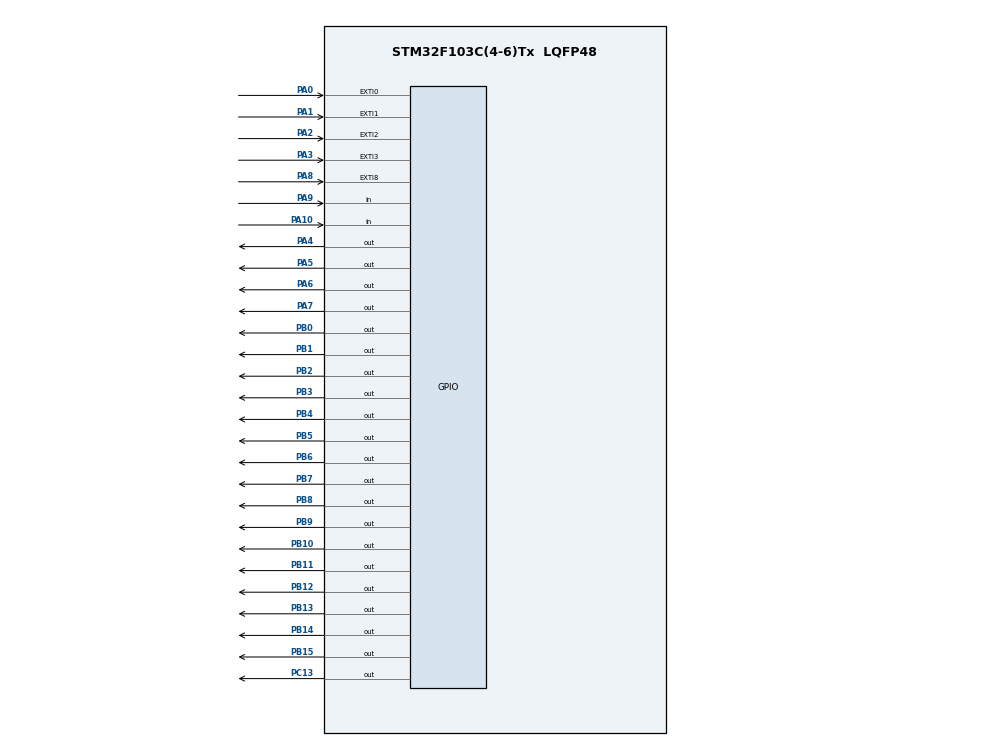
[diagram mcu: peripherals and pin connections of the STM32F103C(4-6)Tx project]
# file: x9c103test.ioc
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Mcu.Family=STM32F1
Mcu.Name=STM32F103C(4-6)Tx
Mcu.Package=LQFP48
NVIC.EXTI0_IRQn=true\:3\:0\:true\:false\:true\:true\:true\:true
NVIC.EXTI1_IRQn=true\:3\:0\:true\:false\:true\:true\:true\:true
NVIC.EXTI2_IRQn=true\:3\:0\:true\:false\:true\:true\:true\:true
NVIC.EXTI3_IRQn=true\:3\:0\:true\:false\:true\:true\:true\:true
NVIC.EXTI9_5_IRQn=true\:3\:0\:true\:false\:true\:true\:true\:true
NVIC.PriorityGroup=NVIC_PRIORITYGROUP_2
PA0-WKUP.GPIO_ModeDefaultEXTI=GPIO_MODE_IT_RISING_FALLING
PA0-WKUP.GPIO_PuPd=GPIO_PULLDOWN
PA0-WKUP.Signal=GPXTI0
PA1.GPIO_ModeDefaultEXTI=GPIO_MODE_IT_RISING_FALLING
PA1.GPIO_PuPd=GPIO_PULLDOWN
PA1.Signal=GPXTI1
PA10.GPIO_PuPd=GPIO_PULLUP
PA10.Signal=GPIO_Input
PA2.GPIO_ModeDefaultEXTI=GPIO_MODE_IT_RISING_FALLING
PA2.GPIO_PuPd=GPIO_PULLDOWN
PA2.Signal=GPXTI2
PA3.GPIO_ModeDefaultEXTI=GPIO_MODE_IT_RISING_FALLING
PA3.GPIO_PuPd=GPIO_PULLDOWN
PA3.Signal=GPXTI3
PA4.PinState=GPIO_PIN_RESET
PA4.Signal=GPIO_Output
PA5.Signal=GPIO_Output
PA6.PinState=GPIO_PIN_RESET
PA6.Signal=GPIO_Output
PA7.Signal=GPIO_Output
PA8.GPIO_ModeDefaultEXTI=GPIO_MODE_IT_RISING_FALLING
PA8.GPIO_PuPd=GPIO_PULLUP
PA8.Signal=GPXTI8
PA9.GPIO_PuPd=GPIO_PULLUP
PA9.Signal=GPIO_Input
PB0.Signal=GPIO_Output
PB1.Signal=GPIO_Output
PB10.Signal=GPIO_Output
PB11.Signal=GPIO_Output
PB12.Signal=GPIO_Output
PB13.Signal=GPIO_Output
PB14.Signal=GPIO_Output
PB15.Signal=GPIO_Output
PB2.Signal=GPIO_Output
PB3.Signal=GPIO_Output
PB4.Signal=GPIO_Output
PB5.Signal=GPIO_Output
PB6.Signal=GPIO_Output
PB7.Signal=GPIO_Output
PB8.Signal=GPIO_Output
PB9.Signal=GPIO_Output
PC13-TAMPER-RTC.Signal=GPIO_Output
ProjectManager.HeapSize=0x200
ProjectManager.StackSize=0x400
ProjectManager.TargetToolchain=MDK-ARM V5
RCC.APB1Freq_Value=8000000
RCC.APB2Freq_Value=8000000
VP_SYS_VS_ND.Mode=No_Debug
VP_TIM3_VS_ClockSourceINT.Mode=Internal
board=custom

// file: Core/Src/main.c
/* USER CODE BEGIN Header */
/**
  ******************************************************************************
  * @file           : main.c
  * @brief          : Main program body
  ******************************************************************************
  * @attention
  *
  * Copyright (c) 2023 STMicroelectronics.
  * All rights reserved.
  *
  * This software is licensed under terms that can be found in the LICENSE file
  * in the root directory of this software component.
  * If no LICENSE file comes with this software, it is provided AS-IS.
  *
  ******************************************************************************
  */
/* USER CODE END Header */
#include "main.h"

/* USER CODE BEGIN PTD */
#define LONG_PRESS_THRESHOLD 2000   // long
#define COUNT_INTERVAL 500	// interval
/* USER CODE END PTD */

TIM_HandleTypeDef htim3;

void SystemClock_Config(void);
static void MX_GPIO_Init(void);
static void MX_TIM3_Init(void);

/* USER CODE BEGIN 0 */
//GPIO_PIN_RESET 0 GPIO_PIN_SET 1
//PA0=KEY0  up
//PA1=KEY1  down
//PA2=KEY2  Silence=sc
//PA3=KEY3  micmode=mic
//PA4******
//PA5=inc HAL_GPIO_WritePin(GPIOA, GPIO_PIN_5, GPIO_PIN_SET);
//PA6=UD 	HAL_GPIO_WritePin(GPIOA, GPIO_PIN_6, GPIO_PIN_SET);
//PA7=CS	HAL_GPIO_WritePin(GPIOA, GPIO_PIN_7, GPIO_PIN_SET);
//PA8=v1
//PA9=v2
//PA10=v3
//PB1*****
//PB2*****
//PB3
//PB4
//PB5=E2 4066 silence2
//PB6=E0 4066 silence1
//PB7=E1 4066 micmode
//PB8--PB15 a,b,c,d,e,f,g,h

int buttonPressStartTime = 0;
int count=0;
int buttonPressDuration=0;
int flagup=0,flagdown=0,flagsc=0,flagmic=0;
int flag=0;
int volume=3;
int volume_C=0;
int v1=1,v2=1,v3=1;
int inc=0,dec=0,sc=0;
//void contorl(){
//	//				v1 v2 v3
//	//stay		1  1  1
//	//silence	0  0  0
//	//++			0  1  0
//	//--			0  1  1

//	switch (v1 | v2 | v3) {
//        case 0b000://silence
//
//            break;
//        case 0b010://++
//
//            break;
//        case 0b011://--
//
//            break;
//        default:
//
//            break;
//    }

//}

//void silence(){
//				HAL_GPIO_TogglePin(GPIOB, GPIO_PIN_5);
//				HAL_GPIO_TogglePin(GPIOB, GPIO_PIN_6);
//				HAL_GPIO_TogglePin(GPIOC, GPIO_PIN_13);//light
//}

//void increase(){

//
//}

//void decrease(){

//}

void x9c103_set(int number){

	HAL_GPIO_WritePin(GPIOA, GPIO_PIN_5, GPIO_PIN_SET); //	inc=1;
	HAL_Delay(10);
	HAL_Delay(10);
	HAL_GPIO_WritePin(GPIOA, GPIO_PIN_7, GPIO_PIN_RESET);	//	cs=0;
	HAL_Delay(10);
	HAL_Delay(10);
	HAL_GPIO_WritePin(GPIOA, GPIO_PIN_6, GPIO_PIN_RESET);	//	ud=0;
	HAL_Delay(10);
	HAL_Delay(10);
	for(int i=0;i<100;i++){
		HAL_GPIO_WritePin(GPIOA, GPIO_PIN_5, GPIO_PIN_SET);					//	inc=1;
		HAL_Delay(10);
		HAL_GPIO_WritePin(GPIOA, GPIO_PIN_5, GPIO_PIN_RESET);		//		inc=0;
		HAL_Delay(10);
	}

		HAL_GPIO_WritePin(GPIOA, GPIO_PIN_6, GPIO_PIN_SET);		//	ud=1;
		HAL_Delay(10);

	for(int i=0;i<number;i++){
		HAL_GPIO_WritePin(GPIOA, GPIO_PIN_5, GPIO_PIN_SET);			//		inc=1;
		HAL_Delay(10);
		HAL_GPIO_WritePin(GPIOA, GPIO_PIN_5, GPIO_PIN_RESET);		//		inc=0;
		HAL_Delay(10);
	}

		HAL_GPIO_WritePin(GPIOA, GPIO_PIN_5, GPIO_PIN_SET);		//	inc=1;
		HAL_Delay(10);
		HAL_Delay(10);
		HAL_GPIO_WritePin(GPIOA, GPIO_PIN_7, GPIO_PIN_SET);	  //	cs=1;
		HAL_Delay(10);
		HAL_Delay(10);
		HAL_GPIO_WritePin(GPIOA, GPIO_PIN_6, GPIO_PIN_RESET);	  //	ud=0;
		HAL_Delay(10);
		HAL_Delay(10);
		HAL_GPIO_WritePin(GPIOA, GPIO_PIN_5, GPIO_PIN_SET);		//	inc=1;
}

void x9c103_inc(int number){
	HAL_GPIO_WritePin(GPIOA, GPIO_PIN_5, GPIO_PIN_SET);		//	inc=1;
	HAL_Delay(10);
	HAL_Delay(10);
	HAL_GPIO_WritePin(GPIOA, GPIO_PIN_7, GPIO_PIN_RESET);	//	cs=0;
	HAL_Delay(10);
	HAL_Delay(10);
	HAL_GPIO_WritePin(GPIOA, GPIO_PIN_6, GPIO_PIN_SET);	  //	ud=1;
	HAL_Delay(10);
	HAL_Delay(10);

	for(int i=0;i<number;i++){
		HAL_GPIO_WritePin(GPIOA, GPIO_PIN_5, GPIO_PIN_SET);		//	inc=1;
		HAL_Delay(10);
		HAL_GPIO_WritePin(GPIOA, GPIO_PIN_5, GPIO_PIN_RESET);	//	inc=0;
		HAL_Delay(10);
	}

	HAL_GPIO_WritePin(GPIOA, GPIO_PIN_5, GPIO_PIN_SET);		//	inc=1;
	HAL_Delay(10);
	HAL_Delay(10);
	HAL_GPIO_WritePin(GPIOA, GPIO_PIN_7, GPIO_PIN_SET);	  //	cs=1;
	HAL_Delay(10);
	HAL_Delay(10);
	HAL_GPIO_WritePin(GPIOA, GPIO_PIN_6, GPIO_PIN_SET);	  //	ud=1;
	HAL_Delay(10);
	HAL_Delay(10);
	HAL_GPIO_WritePin(GPIOA, GPIO_PIN_5, GPIO_PIN_SET);		//	inc=1;
}

void x9c103_dec(int number){
	HAL_GPIO_WritePin(GPIOA, GPIO_PIN_5, GPIO_PIN_SET);		//	inc=1;
	HAL_Delay(10);
	HAL_Delay(10);
	HAL_GPIO_WritePin(GPIOA, GPIO_PIN_7, GPIO_PIN_RESET);	//	cs=0;
	HAL_Delay(10);
	HAL_Delay(10);
	HAL_GPIO_WritePin(GPIOA, GPIO_PIN_6, GPIO_PIN_RESET);	//	ud=0;
	HAL_Delay(10);
	HAL_Delay(10);

	for(int i=0;i<number;i++){
		HAL_GPIO_WritePin(GPIOA, GPIO_PIN_5, GPIO_PIN_SET);		//	inc=1;
		HAL_Delay(10);
		HAL_GPIO_WritePin(GPIOA, GPIO_PIN_5, GPIO_PIN_RESET);	//	inc=0;
		HAL_Delay(10);
	}

	HAL_GPIO_WritePin(GPIOA, GPIO_PIN_5, GPIO_PIN_SET);		//	inc=1;
	HAL_Delay(10);
	HAL_Delay(10);
	HAL_GPIO_WritePin(GPIOA, GPIO_PIN_7, GPIO_PIN_SET);	  //	cs=1;
	HAL_Delay(10);
	HAL_Delay(10);
	HAL_GPIO_WritePin(GPIOA, GPIO_PIN_6, GPIO_PIN_RESET);	  //	ud=0;
	HAL_Delay(10);
	HAL_Delay(10);
	HAL_GPIO_WritePin(GPIOA, GPIO_PIN_5, GPIO_PIN_SET);		//	inc=1;

}

void LED_C(){
   HAL_GPIO_WritePin(GPIOB, GPIO_PIN_8, GPIO_PIN_RESET);
   HAL_GPIO_WritePin(GPIOB, GPIO_PIN_9, GPIO_PIN_RESET);
   HAL_GPIO_WritePin(GPIOB, GPIO_PIN_10, GPIO_PIN_RESET);
   HAL_GPIO_WritePin(GPIOB, GPIO_PIN_11, GPIO_PIN_RESET);
   HAL_GPIO_WritePin(GPIOB, GPIO_PIN_12, GPIO_PIN_RESET);
   HAL_GPIO_WritePin(GPIOB, GPIO_PIN_13, GPIO_PIN_RESET);
	 HAL_GPIO_WritePin(GPIOB, GPIO_PIN_14, GPIO_PIN_RESET);
	 HAL_GPIO_WritePin(GPIOB, GPIO_PIN_15, GPIO_PIN_RESET);
}

void LED(){
	 if(volume_C !=volume)
	 {
    volume_C=volume;
    switch(volume)
		{
	   case 0:
	  //13 12 10 9 8 14
		 LED_C();
		 HAL_GPIO_WritePin(GPIOB, GPIO_PIN_13|GPIO_PIN_12|GPIO_PIN_10|GPIO_PIN_9|GPIO_PIN_8|GPIO_PIN_14, GPIO_PIN_SET);

		 break;
	   case 1:
		// 12  10
		 	 LED_C();
		 HAL_GPIO_WritePin(GPIOB, GPIO_PIN_12|GPIO_PIN_10, GPIO_PIN_SET);

		 break;
	   case 2:
		//13 12 15 8 9
		 	 LED_C();
		 HAL_GPIO_WritePin(GPIOB, GPIO_PIN_13|GPIO_PIN_12|GPIO_PIN_15|GPIO_PIN_8|GPIO_PIN_9, GPIO_PIN_SET);

		 break;
	   case 3:
		//13 12 15 10 9
		 	 LED_C();
		 HAL_GPIO_WritePin(GPIOB, GPIO_PIN_13|GPIO_PIN_12|GPIO_PIN_15|GPIO_PIN_10|GPIO_PIN_9, GPIO_PIN_SET);

		 break;
	   case 4:
		 //14 15 12 10
		 	 LED_C();
		 HAL_GPIO_WritePin(GPIOB, GPIO_PIN_14|GPIO_PIN_15|GPIO_PIN_12|GPIO_PIN_10, GPIO_PIN_SET);

		 break;
	   case 5:
		 // 13 14 15 10 9
		 	 LED_C();
		 HAL_GPIO_WritePin(GPIOB, GPIO_PIN_13|GPIO_PIN_14|GPIO_PIN_15|GPIO_PIN_10|GPIO_PIN_9, GPIO_PIN_SET);

		 break;
	   case 6:
			//13 14 8 9 10 15
		 	 LED_C();
		 HAL_GPIO_WritePin(GPIOB, GPIO_PIN_13|GPIO_PIN_14|GPIO_PIN_8|GPIO_PIN_9|GPIO_PIN_10|GPIO_PIN_15, GPIO_PIN_SET);

		 break;
	   case 7:
			//13 12 10
		 	 LED_C();
		 HAL_GPIO_WritePin(GPIOB, GPIO_PIN_13|GPIO_PIN_12|GPIO_PIN_10, GPIO_PIN_SET);

		 break;

		}
   }
}

void HAL_GPIO_EXTI_Callback(uint16_t GPIO_Pin){

/* ----------------------------------------------------------------*///control

//PA8=v1 mic
//PA9=v2 low prefernce
//PA10=v3  high preference
//				v1 v2 v3
//stay		1  1  1
//silence	0  0  0
//++			0  1  0
//--			0  1  1
if(HAL_GPIO_ReadPin(GPIOA, GPIO_PIN_8) == GPIO_PIN_RESET){
//	HAL_Delay(10);
//		if(HAL_GPIO_ReadPin(GPIOA, GPIO_PIN_8) == GPIO_PIN_RESET){
				if(HAL_GPIO_ReadPin(GPIOA, GPIO_PIN_9) == GPIO_PIN_SET){
					if(HAL_GPIO_ReadPin(GPIOA, GPIO_PIN_10) == GPIO_PIN_SET){
							//011 --
							dec=1;
					}
					else{
							//010 ++
						inc=1;
					}
				}
					else{
						//000 silence
						sc=1;
						}
//		}
	}
	/* ----------------------------------------------------------------*///key+++++
	if(HAL_GPIO_ReadPin(GPIOA, GPIO_PIN_0) == GPIO_PIN_SET||inc == 1) //record start time
	{
		HAL_Delay(10);
		if(HAL_GPIO_ReadPin(GPIOA, GPIO_PIN_0) == GPIO_PIN_SET||inc == 1)
		{
			flag = 1;
			buttonPressStartTime = HAL_GetTick();
			if(inc == 1){
				inc = 0;
				return;
			}
		}
	}

	if(HAL_GPIO_ReadPin(GPIOA, GPIO_PIN_0) == GPIO_PIN_RESET&&flag == 1)//calculate end time && flagup = 1
	{
		HAL_Delay(10);
		if(HAL_GPIO_ReadPin(GPIOA, GPIO_PIN_0) == GPIO_PIN_RESET)
		{
			flag = 0;
			flagup = 1;
			buttonPressDuration = HAL_GetTick() - buttonPressStartTime;
		}
	}
/* ----------------------------------------------------------------*/////key------
	if(HAL_GPIO_ReadPin(GPIOA, GPIO_PIN_1) == GPIO_PIN_SET||dec == 1) //record start time
	{
		HAL_Delay(10);
		if(HAL_GPIO_ReadPin(GPIOA, GPIO_PIN_1) == GPIO_PIN_SET||dec == 1)
		{
			flag = 2;
			buttonPressStartTime = HAL_GetTick();
			if(dec == 1){
				dec = 0;
				return;
			}
		}
	}

	if(HAL_GPIO_ReadPin(GPIOA, GPIO_PIN_1) == GPIO_PIN_RESET&&flag == 2)//calculate end time
	{
		HAL_Delay(10);
		if(HAL_GPIO_ReadPin(GPIOA, GPIO_PIN_1) == GPIO_PIN_RESET)
		{
			flag = 0;
			flagdown = 1;
			buttonPressDuration = HAL_GetTick() - buttonPressStartTime;
		}
	}

/* ----------------------------------------------------------------*////silence
	if(HAL_GPIO_ReadPin(GPIOA, GPIO_PIN_2) == GPIO_PIN_SET||sc == 1) //record start time
	{
		HAL_Delay(10);
		if(HAL_GPIO_ReadPin(GPIOA, GPIO_PIN_2) == GPIO_PIN_SET||sc == 1)
		{
			flag = 3;
			buttonPressStartTime = HAL_GetTick();
			if(sc == 1){
				sc = 0;
				return;
			}
		}
	}

	if(HAL_GPIO_ReadPin(GPIOA, GPIO_PIN_2) == GPIO_PIN_RESET&&flag == 3)//calculate end time
	{
		HAL_Delay(10);
		if(HAL_GPIO_ReadPin(GPIOA, GPIO_PIN_2) == GPIO_PIN_RESET)
		{
			flag = 0;
			flagsc = 1;
			buttonPressDuration = HAL_GetTick() - buttonPressStartTime;
		}
	}

/* ----------------------------------------------------------------*///mic
	if(HAL_GPIO_ReadPin(GPIOA, GPIO_PIN_3) == GPIO_PIN_SET) //record start time
	{
		HAL_Delay(10);
		if(HAL_GPIO_ReadPin(GPIOA, GPIO_PIN_3) == GPIO_PIN_SET)
		{
			flag = 4;
			buttonPressStartTime = HAL_GetTick();
		}
	}

	if(HAL_GPIO_ReadPin(GPIOA, GPIO_PIN_3) == GPIO_PIN_RESET&&flag == 4)//calculate end time
	{
		HAL_Delay(10);
		if(HAL_GPIO_ReadPin(GPIOA, GPIO_PIN_3) == GPIO_PIN_RESET)
		{
			flag = 0;
			flagmic = 1;
			buttonPressDuration = HAL_GetTick() - buttonPressStartTime;
		}
	}

}

/* USER CODE END 0 */

int main(void)
{

  /* MCU Configuration--------------------------------------------------------*/

  /* Reset of all peripherals, Initializes the Flash interface and the Systick. */
  HAL_Init();

  /* Configure the system clock */
  SystemClock_Config();

  /* Initialize all configured peripherals */
  MX_GPIO_Init();
  MX_TIM3_Init();
  /* USER CODE BEGIN 2 */
	HAL_Delay(500);
	x9c103_set(30);
	HAL_GPIO_WritePin(GPIOC, GPIO_PIN_13, GPIO_PIN_SET);
	HAL_Delay(500);
	HAL_GPIO_WritePin(GPIOC, GPIO_PIN_13, GPIO_PIN_RESET);//keep light
  /* USER CODE END 2 */

  /* Infinite loop */
  while (1)
  {

    /* USER CODE BEGIN 3 */
		LED();
		if(flagup == 1)
			{
				flagup = 0;
				count = buttonPressDuration/1000;
				if(buttonPressDuration >= LONG_PRESS_THRESHOLD)//changan >= 2s
					{
						for(int i=0;i<count;i++)
						{

							if(volume<7){

								x9c103_inc(10);
								volume++;

							}
						}
					}

				else//duanan < 2s
					{

						if(volume<7){

							x9c103_inc(10);
							volume++;

						}

					}
//				if(volume>0&&HAL_GPIO_ReadPin(GPIOC, GPIO_PIN_13) == GPIO_PIN_SET){
//						HAL_GPIO_WritePin(GPIOB, GPIO_PIN_5, GPIO_PIN_SET);
//						HAL_GPIO_WritePin(GPIOB, GPIO_PIN_6, GPIO_PIN_SET);
//					}
				count=0;
			}
/*--------------------------------------------------------*/
			if(flagdown == 1)
			{
				flagdown = 0;
				count = buttonPressDuration/1000;
				if(buttonPressDuration >= LONG_PRESS_THRESHOLD)//changan >= 2s
					{
						for(int i=0;i<count;i++)
						{
							if(volume>0){

								x9c103_dec(10);
								volume--;

							}
						}
					}

				else//duanan < 2s
					{
						if(volume>0){

						x9c103_dec(10);
						volume--;

						}

					}
//				if(volume==0&&HAL_GPIO_ReadPin(GPIOB, GPIO_PIN_5) == GPIO_PIN_RESET){
//						HAL_GPIO_WritePin(GPIOB, GPIO_PIN_5, GPIO_PIN_RESET);
//						HAL_GPIO_WritePin(GPIOB, GPIO_PIN_6, GPIO_PIN_RESET);
//					}
				count=0;
			}
/*--------------------------------------------------------*/
			if(flagsc == 1)
			{
				flagsc = 0;
				HAL_GPIO_TogglePin(GPIOB, GPIO_PIN_5);
				HAL_GPIO_TogglePin(GPIOB, GPIO_PIN_6);
				if(HAL_GPIO_ReadPin(GPIOB, GPIO_PIN_5) == GPIO_PIN_RESET){
					HAL_GPIO_TogglePin(GPIOC, GPIO_PIN_13);//light
				}

			}
/*--------------------------------------------------------*/
			if(flagmic == 1)
			{
				flagmic = 0;
				HAL_GPIO_TogglePin(GPIOB, GPIO_PIN_7);
			}

  }
  /* USER CODE END 3 */
}

void SystemClock_Config(void)
{
  RCC_OscInitTypeDef RCC_OscInitStruct = {0};
  RCC_ClkInitTypeDef RCC_ClkInitStruct = {0};

  /** Initializes the RCC Oscillators according to the specified parameters
  * in the RCC_OscInitTypeDef structure.
  */
  RCC_OscInitStruct.OscillatorType = RCC_OSCILLATORTYPE_HSI;
  RCC_OscInitStruct.HSIState = RCC_HSI_ON;
  RCC_OscInitStruct.HSICalibrationValue = RCC_HSICALIBRATION_DEFAULT;
  RCC_OscInitStruct.PLL.PLLState = RCC_PLL_NONE;
  if (HAL_RCC_OscConfig(&RCC_OscInitStruct) != HAL_OK)
  {
    Error_Handler();
  }

  /** Initializes the CPU, AHB and APB buses clocks
  */
  RCC_ClkInitStruct.ClockType = RCC_CLOCKTYPE_HCLK|RCC_CLOCKTYPE_SYSCLK
                              |RCC_CLOCKTYPE_PCLK1|RCC_CLOCKTYPE_PCLK2;
  RCC_ClkInitStruct.SYSCLKSource = RCC_SYSCLKSOURCE_HSI;
  RCC_ClkInitStruct.AHBCLKDivider = RCC_SYSCLK_DIV1;
  RCC_ClkInitStruct.APB1CLKDivider = RCC_HCLK_DIV1;
  RCC_ClkInitStruct.APB2CLKDivider = RCC_HCLK_DIV1;

  if (HAL_RCC_ClockConfig(&RCC_ClkInitStruct, FLASH_LATENCY_0) != HAL_OK)
  {
    Error_Handler();
  }
}

static void MX_TIM3_Init(void)
{

  TIM_ClockConfigTypeDef sClockSourceConfig = {0};
  TIM_MasterConfigTypeDef sMasterConfig = {0};

  htim3.Instance = TIM3;
  htim3.Init.Prescaler = 0;
  htim3.Init.CounterMode = TIM_COUNTERMODE_UP;
  htim3.Init.Period = 65535;
  htim3.Init.ClockDivision = TIM_CLOCKDIVISION_DIV1;
  htim3.Init.AutoReloadPreload = TIM_AUTORELOAD_PRELOAD_DISABLE;
  if (HAL_TIM_Base_Init(&htim3) != HAL_OK)
  {
    Error_Handler();
  }
  sClockSourceConfig.ClockSource = TIM_CLOCKSOURCE_INTERNAL;
  if (HAL_TIM_ConfigClockSource(&htim3, &sClockSourceConfig) != HAL_OK)
  {
    Error_Handler();
  }
  sMasterConfig.MasterOutputTrigger = TIM_TRGO_RESET;
  sMasterConfig.MasterSlaveMode = TIM_MASTERSLAVEMODE_DISABLE;
  if (HAL_TIMEx_MasterConfigSynchronization(&htim3, &sMasterConfig) != HAL_OK)
  {
    Error_Handler();
  }

}

static void MX_GPIO_Init(void)
{
  GPIO_InitTypeDef GPIO_InitStruct = {0};

  /* GPIO Ports Clock Enable */
  __HAL_RCC_GPIOC_CLK_ENABLE();
  __HAL_RCC_GPIOA_CLK_ENABLE();
  __HAL_RCC_GPIOB_CLK_ENABLE();

  /*Configure GPIO pin Output Level */
  HAL_GPIO_WritePin(GPIOC, GPIO_PIN_13, GPIO_PIN_RESET);

  /*Configure GPIO pin Output Level */
  HAL_GPIO_WritePin(GPIOA, GPIO_PIN_4|GPIO_PIN_5|GPIO_PIN_6|GPIO_PIN_7, GPIO_PIN_RESET);

  /*Configure GPIO pin Output Level */
  HAL_GPIO_WritePin(GPIOB, GPIO_PIN_0|GPIO_PIN_1|GPIO_PIN_2|GPIO_PIN_10
                          |GPIO_PIN_11|GPIO_PIN_12|GPIO_PIN_13|GPIO_PIN_14
                          |GPIO_PIN_15|GPIO_PIN_3|GPIO_PIN_4|GPIO_PIN_5
                          |GPIO_PIN_6|GPIO_PIN_7|GPIO_PIN_8|GPIO_PIN_9, GPIO_PIN_RESET);

  /*Configure GPIO pin : PC13 */
  GPIO_InitStruct.Pin = GPIO_PIN_13;
  GPIO_InitStruct.Mode = GPIO_MODE_OUTPUT_PP;
  GPIO_InitStruct.Pull = GPIO_NOPULL;
  GPIO_InitStruct.Speed = GPIO_SPEED_FREQ_LOW;
  HAL_GPIO_Init(GPIOC, &GPIO_InitStruct);

  /*Configure GPIO pins : PA0 PA1 PA2 PA3 */
  GPIO_InitStruct.Pin = GPIO_PIN_0|GPIO_PIN_1|GPIO_PIN_2|GPIO_PIN_3;
  GPIO_InitStruct.Mode = GPIO_MODE_IT_RISING_FALLING;
  GPIO_InitStruct.Pull = GPIO_PULLDOWN;
  HAL_GPIO_Init(GPIOA, &GPIO_InitStruct);

  /*Configure GPIO pins : PA4 PA5 PA6 PA7 */
  GPIO_InitStruct.Pin = GPIO_PIN_4|GPIO_PIN_5|GPIO_PIN_6|GPIO_PIN_7;
  GPIO_InitStruct.Mode = GPIO_MODE_OUTPUT_PP;
  GPIO_InitStruct.Pull = GPIO_NOPULL;
  GPIO_InitStruct.Speed = GPIO_SPEED_FREQ_LOW;
  HAL_GPIO_Init(GPIOA, &GPIO_InitStruct);

  /*Configure GPIO pins : PB0 PB1 PB2 PB10
                           PB11 PB12 PB13 PB14
                           PB15 PB3 PB4 PB5
                           PB6 PB7 PB8 PB9 */
  GPIO_InitStruct.Pin = GPIO_PIN_0|GPIO_PIN_1|GPIO_PIN_2|GPIO_PIN_10
                          |GPIO_PIN_11|GPIO_PIN_12|GPIO_PIN_13|GPIO_PIN_14
                          |GPIO_PIN_15|GPIO_PIN_3|GPIO_PIN_4|GPIO_PIN_5
                          |GPIO_PIN_6|GPIO_PIN_7|GPIO_PIN_8|GPIO_PIN_9;
  GPIO_InitStruct.Mode = GPIO_MODE_OUTPUT_PP;
  GPIO_InitStruct.Pull = GPIO_NOPULL;
  GPIO_InitStruct.Speed = GPIO_SPEED_FREQ_LOW;
  HAL_GPIO_Init(GPIOB, &GPIO_InitStruct);

  /*Configure GPIO pin : PA8 */
  GPIO_InitStruct.Pin = GPIO_PIN_8;
  GPIO_InitStruct.Mode = GPIO_MODE_IT_RISING_FALLING;
  GPIO_InitStruct.Pull = GPIO_PULLUP;
  HAL_GPIO_Init(GPIOA, &GPIO_InitStruct);

  /*Configure GPIO pins : PA9 PA10 */
  GPIO_InitStruct.Pin = GPIO_PIN_9|GPIO_PIN_10;
  GPIO_InitStruct.Mode = GPIO_MODE_INPUT;
  GPIO_InitStruct.Pull = GPIO_PULLUP;
  HAL_GPIO_Init(GPIOA, &GPIO_InitStruct);

  /* EXTI interrupt init*/
  HAL_NVIC_SetPriority(EXTI0_IRQn, 3, 0);
  HAL_NVIC_EnableIRQ(EXTI0_IRQn);

  HAL_NVIC_SetPriority(EXTI1_IRQn, 3, 0);
  HAL_NVIC_EnableIRQ(EXTI1_IRQn);

  HAL_NVIC_SetPriority(EXTI2_IRQn, 3, 0);
  HAL_NVIC_EnableIRQ(EXTI2_IRQn);

  HAL_NVIC_SetPriority(EXTI3_IRQn, 3, 0);
  HAL_NVIC_EnableIRQ(EXTI3_IRQn);

  HAL_NVIC_SetPriority(EXTI9_5_IRQn, 3, 0);
  HAL_NVIC_EnableIRQ(EXTI9_5_IRQn);

}

void Error_Handler(void)
{
  __disable_irq();
  while (1)
  {
  }
}
